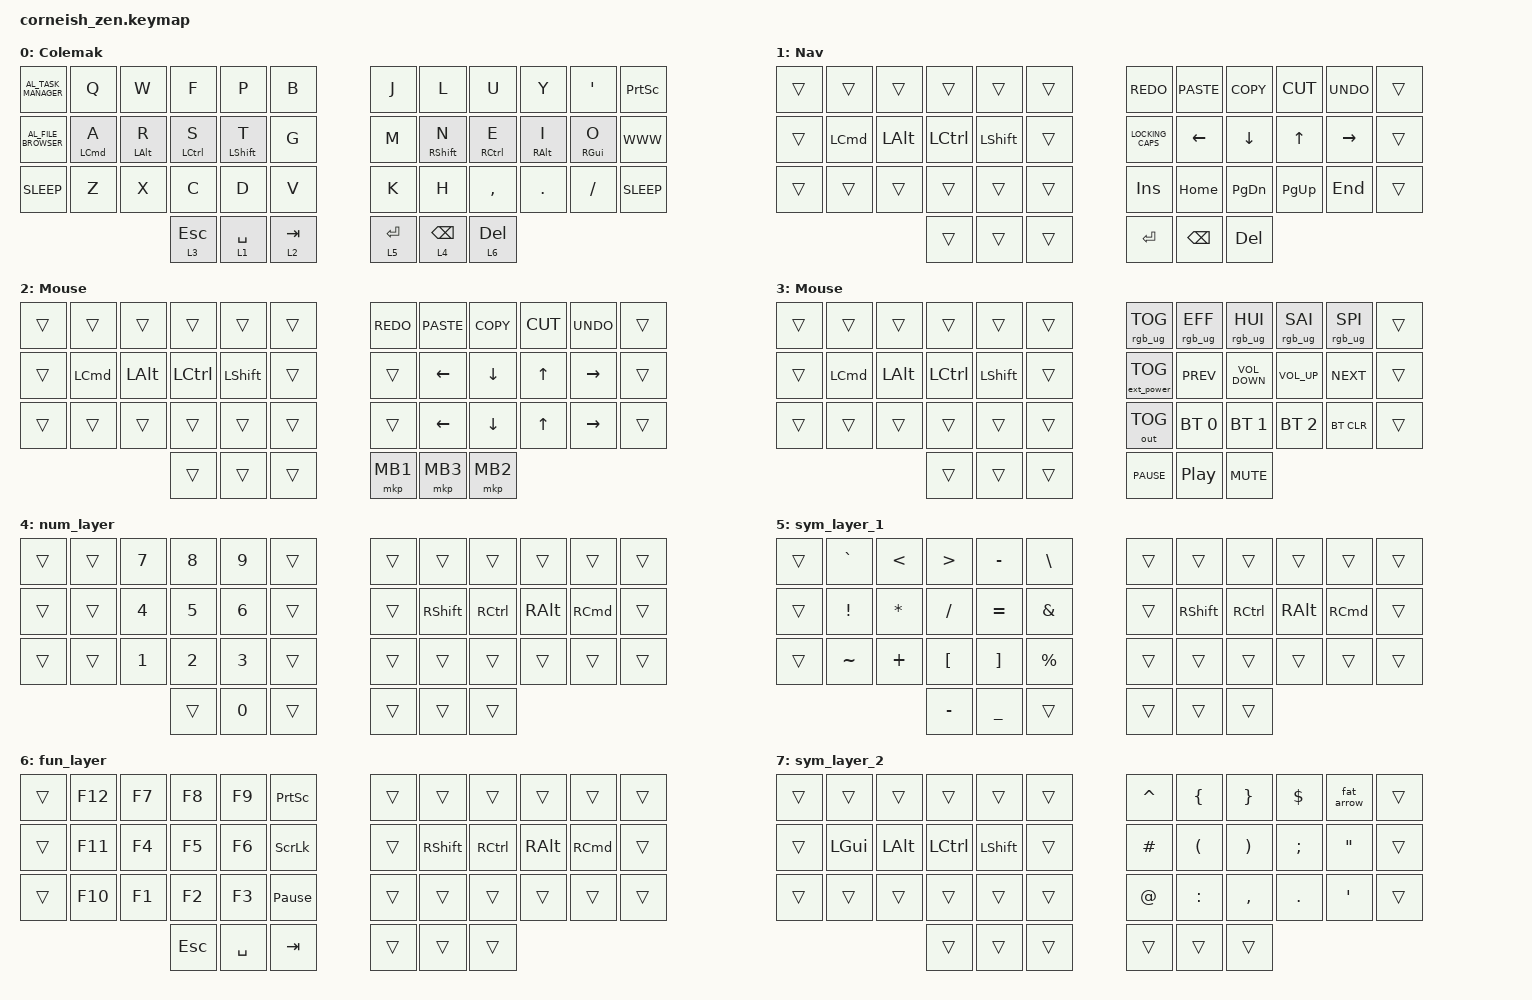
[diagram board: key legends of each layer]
/*
 * Copyright (c) 2020 The ZMK Contributors
 *
 * SPDX-License-Identifier: MIT
 */

#include <behaviors.dtsi>
#include <dt-bindings/zmk/bt.h>
#include <dt-bindings/zmk/ext_power.h>
#include <dt-bindings/zmk/keys.h>
#include <dt-bindings/zmk/outputs.h>
#include <dt-bindings/zmk/pointing.h>
#include <dt-bindings/zmk/rgb.h>

/ {
    chosen {
        zmk,matrix_transform = &default_transform;

        // zmk,matrix_transform = &five_column_transform;
    };
};

/ {
    behaviors {
        td0: td0 {
            compatible = "zmk,behavior-tap-dance";
            label = "TD0";
            #binding-cells = <0>;
            bindings = <&kp LEFT_SHIFT>, <&kp CAPS>;
        };

        hrm: homerow_mod {
            compatible = "zmk,behavior-hold-tap";
            label = "Homerow Mod";
            bindings = <&kp>, <&kp>;

            #binding-cells = <2>;
            hold-trigger-on-release;
            require-prior-idle-ms = <150>;
            tapping-term-ms = <280>;
            quick-tap-ms = <175>;
            flavor = "balanced";
        };
    };

    macros {
        fat_arrow: fat_arrow {
            compatible = "zmk,behavior-macro";
            #binding-cells = <0>;
            bindings = <&kp EQUAL &kp GREATER_THAN>;
            label = "FAT_ARROW";
        };
    };

    combos {
        compatible = "zmk,combos";

        sym-2 {
            bindings = <&mo 7>;
            key-positions = <38 39>;
            timeout-ms = <0>;
            layers = <0>;
        };
    };

    keymap {
        compatible = "zmk,keymap";

        base_layer {
            display-name = "Colemak";

            // --------------------------------------------------------------------------------
            // |  TAB |  Q  |  W  |  E  |  R  |  T  |   |  Y  |  U   |  I  |  O  |  P  | BKSP |
            // | CTRL |  A  |  S  |  D  |  F  |  G  |   |  H  |  J   |  K  |  L  |  ;  |  '   | 
            // | SHFT |  Z  |  X  |  C  |  V  |  B  |   |  N  |  M   |  ,  |  .  |  /  | ESC  |
            //                    | GUI | LWR | SPC |   | ENT | RSE  | ALT |

            bindings = <
&kp C_AL_TASK_MANAGER  &kp Q                &kp W            &kp F                &kp P              &kp B        &kp J        &kp L               &kp U                 &kp Y             &kp SQT           &kp PSCRN
&kp C_AL_FILE_BROWSER  &hrm LEFT_COMMAND A  &hrm LEFT_ALT R  &hrm LEFT_CONTROL S  &hrm LEFT_SHIFT T  &kp G        &kp M        &hrm RIGHT_SHIFT N  &hrm RIGHT_CONTROL E  &hrm RIGHT_ALT I  &hrm RIGHT_GUI O  &kp K_WWW
&kp C_SLEEP            &kp Z                &kp X            &kp C                &kp D              &kp V        &kp K        &kp H               &kp COMMA             &kp DOT           &kp FSLH          &kp C_SLEEP
                                                             &lt 3 ESCAPE         &lt 1 SPACE        &lt 2 TAB    &lt 5 ENTER  &lt 4 BACKSPACE     &lt 6 DEL
            >;
        };

        nav_layer {
            display-name = "Nav";

            // -----------------------------------------------------------------------------------------
            // |  TAB |  1  |  2  |  3  |  4  |  5  |   |  6  |  7  |  8  |  9  |  0  | BKSP |
            // | BTCLR| BT1 | BT2 | BT3 | BT4 | BT5 |   | LFT | DWN |  UP | RGT |     |      |
            // | SHFT |     |     |     |     |     |   |     |     |     |     |     |      |
            //                    | GUI |     | SPC |   | ENT |     | ALT |

            bindings = <
&trans  &trans            &trans        &trans     &trans          &trans    &kp K_REDO        &kp K_PASTE    &kp K_COPY      &kp K_CUT     &kp K_UNDO  &trans
&trans  &kp LEFT_COMMAND  &kp LEFT_ALT  &kp LCTRL  &kp LEFT_SHIFT  &trans    &kp LOCKING_CAPS  &kp LEFT       &kp DOWN_ARROW  &kp UP_ARROW  &kp RIGHT   &trans
&trans  &trans            &trans        &trans     &trans          &trans    &kp INSERT        &kp HOME       &kp PAGE_DOWN   &kp PAGE_UP   &kp END     &trans
                                        &trans     &trans          &trans    &kp ENTER         &kp BACKSPACE  &kp DELETE
            >;
        };

        mouse_layer {
            display-name = "Mouse";

            // -----------------------------------------------------------------------------------------
            // |  TAB |  !  |  @  |  #  |  $  |  %  |   |  ^  |  &  |  *  |  (  |  )  | BKSP |
            // | CTRL |     |     |     |     |     |   |  -  |  =  |  [  |  ]  |  \  |  `   |
            // | SHFT |     |     |     |     |     |   |  _  |  +  |  {  |  }  | "|" |  ~   |
            //                    | GUI |     | SPC |   | ENT |     | ALT |

            bindings = <
&trans  &trans            &trans        &trans     &trans      &trans    &kp K_REDO  &kp K_PASTE  &kp K_COPY      &kp K_CUT     &kp K_UNDO       &trans
&trans  &kp LEFT_COMMAND  &kp LEFT_ALT  &kp LCTRL  &kp LSHIFT  &trans    &trans      &kp LEFT     &kp DOWN_ARROW  &kp UP_ARROW  &kp RIGHT_ARROW  &trans
&trans  &trans            &trans        &trans     &trans      &trans    &trans      &kp LEFT     &kp DOWN        &kp UP_ARROW  &kp RIGHT        &trans
                                        &trans     &trans      &trans    &mkp MB1    &mkp MB3     &mkp MB2
            >;
        };

        media_layer {
            display-name = "Mouse";
            bindings = <
&trans  &trans            &trans        &trans     &trans      &trans    &rgb_ug RGB_TOG    &rgb_ug RGB_EFF   &rgb_ug RGB_HUI    &rgb_ug RGB_SAI  &rgb_ug RGB_SPI  &trans
&trans  &kp LEFT_COMMAND  &kp LEFT_ALT  &kp LCTRL  &kp LSHIFT  &trans    &ext_power EP_TOG  &kp C_PREV        &kp C_VOLUME_DOWN  &kp C_VOL_UP     &kp C_NEXT       &trans
&trans  &trans            &trans        &trans     &trans      &trans    &out OUT_TOG       &bt BT_SEL 0      &bt BT_SEL 1       &bt BT_SEL 2     &bt BT_CLR       &trans
                                        &trans     &trans      &trans    &kp C_PAUSE        &kp C_PLAY_PAUSE  &kp C_MUTE
            >;
        };

        num_layer {
            bindings = <
&trans  &trans  &kp N7  &kp N8  &kp N9  &trans    &trans  &trans           &trans     &trans         &trans             &trans
&trans  &trans  &kp N4  &kp N5  &kp N6  &trans    &trans  &kp RIGHT_SHIFT  &kp RCTRL  &kp RIGHT_ALT  &kp RIGHT_COMMAND  &trans
&trans  &trans  &kp N1  &kp N2  &kp N3  &trans    &trans  &trans           &trans     &trans         &trans             &trans
                        &trans  &kp N0  &trans    &trans  &trans           &trans
            >;
        };

        sym_layer_1 {
            bindings = <
&trans  &kp GRAVE  &kp LESS_THAN  &kp GREATER_THAN  &kp MINUS          &kp BACKSLASH    &trans  &trans           &trans     &trans         &trans             &trans
&trans  &kp EXCL   &kp ASTRK      &kp SLASH         &kp EQUAL          &kp AMPERSAND    &trans  &kp RIGHT_SHIFT  &kp RCTRL  &kp RIGHT_ALT  &kp RIGHT_COMMAND  &trans
&trans  &kp TILDE  &kp PLUS       &kp LEFT_BRACKET  &kp RIGHT_BRACKET  &kp PERCENT      &trans  &trans           &trans     &trans         &trans             &trans
                                  &kp MINUS         &kp UNDER          &trans           &trans  &trans           &trans
            >;
        };

        fun_layer {
            bindings = <
&trans  &kp F12  &kp F7  &kp F8      &kp F9     &kp PRINTSCREEN    &trans  &trans           &trans     &trans         &trans             &trans
&trans  &kp F11  &kp F4  &kp F5      &kp F6     &kp SCROLLLOCK     &trans  &kp RIGHT_SHIFT  &kp RCTRL  &kp RIGHT_ALT  &kp RIGHT_COMMAND  &trans
&trans  &kp F10  &kp F1  &kp F2      &kp F3     &kp PAUSE_BREAK    &trans  &trans           &trans     &trans         &trans             &trans
                         &kp ESCAPE  &kp SPACE  &kp TAB            &trans  &trans           &trans
            >;
        };

        sym_layer_2 {
            bindings = <
&trans  &trans    &trans    &trans            &trans          &trans    &kp CARET    &kp LEFT_BRACE        &kp RIGHT_BRACE        &kp DOLLAR     &fat_arrow         &trans
&trans  &kp LGUI  &kp LALT  &kp LEFT_CONTROL  &kp LEFT_SHIFT  &trans    &kp HASH     &kp LEFT_PARENTHESIS  &kp RIGHT_PARENTHESIS  &kp SEMICOLON  &kp DOUBLE_QUOTES  &trans
&trans  &trans    &trans    &trans            &trans          &trans    &kp AT_SIGN  &kp COLON             &kp COMMA              &kp DOT        &kp SINGLE_QUOTE   &trans
                            &trans            &trans          &trans    &trans       &trans                &trans
            >;
        };
    };
};
